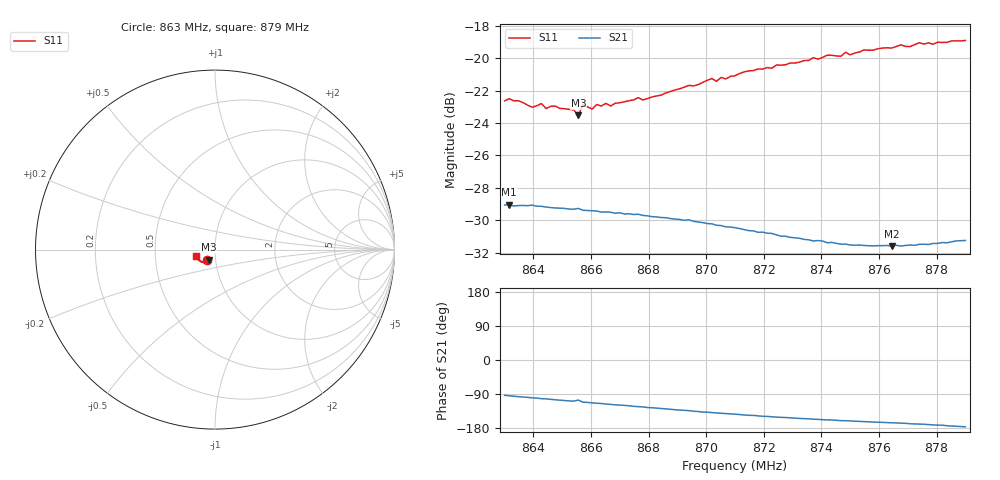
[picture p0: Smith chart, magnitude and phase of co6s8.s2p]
# HZ S RI R 50
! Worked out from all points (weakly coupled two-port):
!   101 points, 863 MHz to 879 MHz, reference 50 ohm
!   highest |S21| = -29.03 dB at 863.16 MHz (marker M1); lowest = -31.6 dB at 876.44 MHz (marker M2)
!   lowest |S11| = -23.5 dB at 865.56 MHz (marker M3), VSWR 1.14, Z = 46.3 - j5.28 ohm
!   |S11| at or under -10 dB: start of sweep to end of sweep
!   S12 and S22 are empty: the file has one direction only
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8.63e8  -0.0457 -0.0581  -0.00195 -0.0352  0 0  0 0
8.6316e8  -0.0471 -0.0585  -0.00278 -0.0352  0 0  0 0
8.6396e8  -0.0425 -0.0564  -0.00604 -0.0347  0 0  0 0
8.6428e8  -0.0425 -0.0588  -0.00732 -0.0341  0 0  0 0
8.6444e8  -0.0412 -0.0565  -0.00756 -0.0339  0 0  0 0
8.6476e8  -0.0415 -0.0579  -0.00897 -0.0333  0 0  0 0
8.654e8  -0.0385 -0.0576  -0.0108 -0.0324  0 0  0 0
8.6556e8  -0.0351 -0.0568  -0.00933 -0.0331  0 0  0 0
8.6572e8  -0.0397 -0.0599  -0.0124 -0.0316  0 0  0 0
8.6604e8  -0.0372 -0.0589  -0.0133 -0.0311  0 0  0 0
8.662e8  -0.0396 -0.0602  -0.0138 -0.0308  0 0  0 0
8.6668e8  -0.0377 -0.0605  -0.0153 -0.0298  0 0  0 0
8.6764e8  -0.0399 -0.0643  -0.018 -0.0276  0 0  0 0
8.6844e8  -0.0404 -0.0656  -0.0199 -0.0254  0 0  0 0
8.702e8  -0.049 -0.0714  -0.0232 -0.0203  0 0  0 0
8.7036e8  -0.0475 -0.0704  -0.0232 -0.0198  0 0  0 0
8.7052e8  -0.05 -0.0716  -0.0235 -0.0193  0 0  0 0
8.71e8  -0.0513 -0.072  -0.0239 -0.0181  0 0  0 0
8.7372e8  -0.0715 -0.0706  -0.0249 -0.0111  0 0  0 0
8.7644e8  -0.0903 -0.0584  -0.0255 -0.00647  0 0  0 0
8.774e8  -0.0993 -0.0512  -0.0262 -0.00504  0 0  0 0
8.79e8  -0.1077 -0.0361  -0.0273 -0.00177  0 0  0 0
